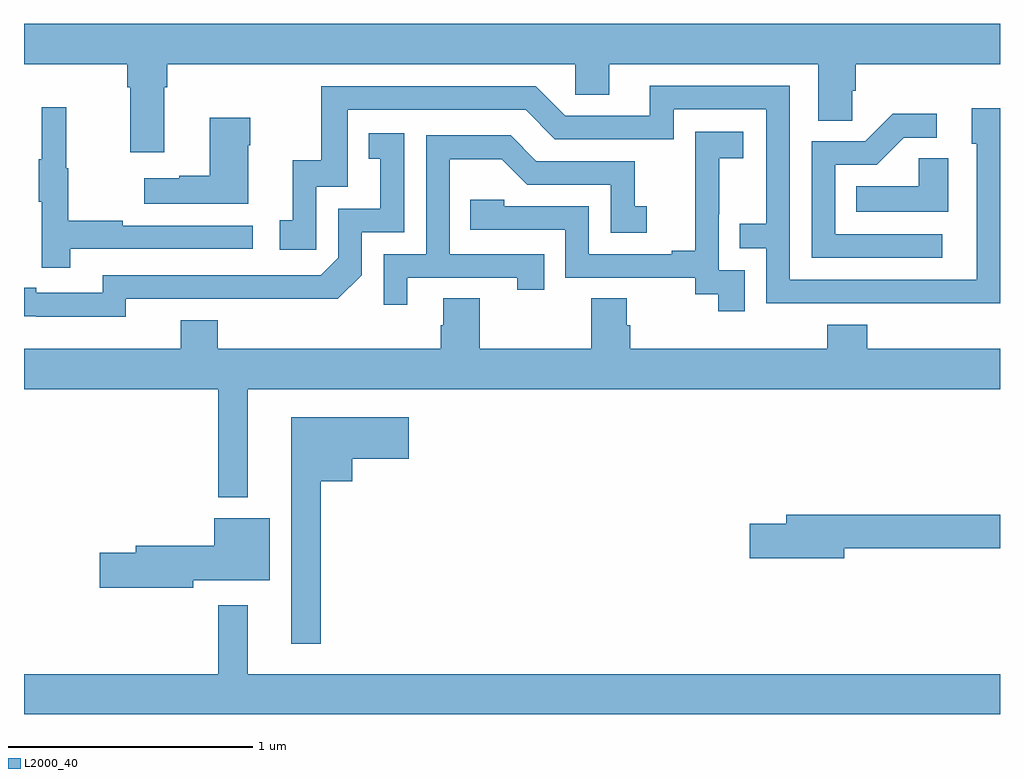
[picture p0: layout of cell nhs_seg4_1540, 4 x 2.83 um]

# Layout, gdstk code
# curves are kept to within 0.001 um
import gdstk
lib = gdstk.Library(unit=1e-6, precision=1e-09)
def P(c, l, *ps):  # polygons
    for p in ps: c.add(gdstk.Polygon(p, *l))
L2000_40 = (2000, 40)

nhs_seg4_1540 = lib.new_cell('nhs_seg4_1540')
P(nhs_seg4_1540, L2000_40, [(191.575,766.088),(191.588,766.088),(191.588,766.184),(193.26,766.184),(193.26,766.057),(193.399,766.057),(193.399,766.184),(194.255,766.184),(194.255,765.952),(194.394,765.952),(194.394,766.075),(194.408,766.075),(194.408,766.184),(195,766.184),(195,766.348),(191,766.348),(191,766.184),(191.423,766.184),(191.423,766.088),(191.435,766.088),(191.435,765.822),(191.575,765.822)],
  [(195,766.003),(194.885,766.003),(194.885,765.858),(194.904,765.858),(194.904,765.3),(194.139,765.3),(194.139,766.095),(193.565,766.095),(193.565,765.972),(193.218,765.972),(193.098,766.092),(192.219,766.092),(192.219,765.79),(192.101,765.79),(192.101,765.543),(192.048,765.543),(192.048,765.423),(192.198,765.423),(192.198,765.681),(192.327,765.681),(192.327,765.996),(193.056,765.996),(193.176,765.876),(193.662,765.876),(193.662,765.999),(194.043,765.999),(194.043,765.53),(193.933,765.53),(193.933,765.429),(194.043,765.429),(194.043,765.204),(195,765.203)],
  [(191.189,765.426),(191.938,765.426),(191.938,765.522),(191.405,765.522),(191.405,765.542),(191.182,765.542),(191.182,765.756),(191.174,765.756),(191.174,766.006),(191.072,766.006),(191.072,765.793),(191.061,765.793),(191.061,765.619),(191.072,765.619),(191.072,765.348),(191.189,765.348)],
  [(194.764,765.486),(194.325,765.486),(194.325,765.771),(194.494,765.771),(194.605,765.882),(194.74,765.882),(194.74,765.98),(194.561,765.98),(194.448,765.867),(194.229,765.867),(194.229,765.39),(194.764,765.39)],
  [(191.92,765.851),(191.928,765.851),(191.928,765.964),(191.762,765.964),(191.762,765.725),(191.636,765.725),(191.636,765.715),(191.493,765.715),(191.493,765.611),(191.92,765.611)],
  [(193.953,765.339),(193.848,765.339),(193.848,765.569),(193.85,765.569),(193.85,765.797),(193.948,765.797),(193.948,765.907),(193.75,765.907),(193.75,765.701),(193.751,765.701),(193.751,765.418),(193.655,765.418),(193.655,765.405),(193.314,765.405),(193.314,765.6),(192.969,765.6),(192.969,765.627),(192.829,765.627),(192.829,765.504),(193.218,765.504),(193.218,765.309),(193.752,765.309),(193.752,765.241),(193.845,765.241),(193.845,765.171),(193.953,765.171)],
  [(191.418,765.222),(192.286,765.221),(192.384,765.318),(192.384,765.495),(192.558,765.495),(192.558,765.901),(192.412,765.901),(192.412,765.795),(192.461,765.795),(192.461,765.591),(192.288,765.591),(192.288,765.39),(192.216,765.318),(191.322,765.318),(191.322,765.246),(191.05,765.246),(191.05,765.266),(191,765.266),(191,765.15),(191.418,765.149)],
  [(192.571,765.309),(193.022,765.309),(193.022,765.258),(193.133,765.258),(193.133,765.405),(192.744,765.405),(192.744,765.794),(192.958,765.794),(193.062,765.69),(193.404,765.69),(193.404,765.492),(193.552,765.492),(193.552,765.601),(193.503,765.601),(193.503,765.786),(193.099,765.786),(192.994,765.891),(192.648,765.891),(192.648,765.405),(192.474,765.405),(192.474,765.198),(192.571,765.198)],
  [(194.788,765.797),(194.667,765.797),(194.667,765.682),(194.41,765.682),(194.41,765.578),(194.788,765.578)],
  [(191.917,764.852),(195,764.852),(195,765.016),(194.456,765.016),(194.456,765.115),(194.291,765.115),(194.291,765.016),(193.484,765.016),(193.484,765.114),(193.471,765.114),(193.471,765.224),(193.324,765.224),(193.324,765.016),(192.867,765.016),(192.867,765.224),(192.719,765.224),(192.719,765.114),(192.707,765.114),(192.707,765.016),(191.795,765.016),(191.795,765.133),(191.642,765.133),(191.642,765.016),(191,765.016),(191,764.852),(191.796,764.852),(191.796,764.408),(191.917,764.408)],
  [(192.217,764.474),(192.346,764.474),(192.346,764.567),(192.577,764.567),(192.577,764.737),(192.095,764.737),(192.095,763.809),(192.217,763.809)],
  [(194.362,764.2),(195,764.2),(195,764.336),(194.123,764.336),(194.123,764.3),(193.974,764.3),(193.974,764.158),(194.362,764.158)],
  [(191.694,764.069),(192.007,764.069),(192.007,764.323),(191.78,764.323),(191.78,764.21),(191.459,764.21),(191.459,764.18),(191.31,764.18),(191.31,764.038),(191.694,764.038)],
  [(195,763.684),(191.917,763.684),(191.917,763.966),(191.796,763.966),(191.796,763.684),(191,763.684),(191,763.52),(195,763.52)])

lib.write_gds('nhs_seg4_1540.gds')
